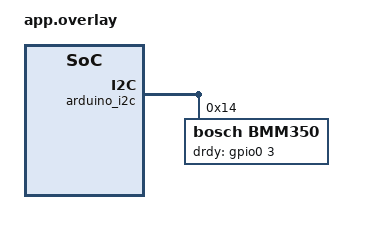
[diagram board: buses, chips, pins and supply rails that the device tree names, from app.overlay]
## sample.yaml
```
sample:
  name: BMM350 Sensor sample
tests:
  sample.sensor.bmm350:
    harness: sensor
    tags:
      - samples
      - sensor
    depends_on: arduino_i2c
```

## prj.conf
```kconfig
CONFIG_STDOUT_CONSOLE=y
CONFIG_I2C=y
CONFIG_SENSOR=y
CONFIG_LOG=y
CONFIG_CBPRINTF_FP_SUPPORT=y
CONFIG_BMM350=y
```

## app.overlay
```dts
/*
 * Copyright (c) 2024 Bosch Sensortec GmbH
 *
 * SPDX-License-Identifier: Apache-2.0
 */

//this i2c config can be used successfully
&arduino_i2c {
	compatible = "nordic,nrf-twim";
	zephyr,concat-buf-size = <257>;
	status = "okay";

	bmm350@14 {
		compatible = "bosch,bmm350";
		drdy-gpios = <&gpio0 3 GPIO_ACTIVE_HIGH>;
		status = "okay";
		label = "BMM350";
		reg = <0x14>;
	};
};
```

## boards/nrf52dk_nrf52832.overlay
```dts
/*
 * Copyright (c) 2024 Nordic Semiconductor ASA
 *
 * SPDX-License-Identifier: Apache-2.0
 */

&i2c0 { /* SDA P0.26, SCL P0.27, DRDY P0.11 */
	status = "okay";
	clock-frequency = <I2C_BITRATE_STANDARD>;
	bmm350@14 {
		compatible = "bosch,bmm350";
		reg = <0x14>;
		drdy-gpios = <&gpio0 11 GPIO_ACTIVE_LOW>;
	};
};
```

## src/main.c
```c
/*
 * Copyright (c) 2024 Bosch Sensortec GmbH
 *
 * SPDX-License-Identifier: Apache-2.0
 */

#include <zephyr/kernel.h>
#include <zephyr/device.h>
#include <zephyr/drivers/sensor.h>
#include <stdio.h>
#include <zephyr/logging/log.h>
#if (CONFIG_BMM350_TRIGGER_GLOBAL_THREAD || CONFIG_BMM350_TRIGGER_OWN_THREAD)
static void trigger_handler(const struct device *dev, const struct sensor_trigger *trig)
{
	struct sensor_value mag[3];
	float report_mag[3] = {0.0};
	int64_t current_time = k_uptime_get();

	sensor_sample_fetch(dev);

	sensor_channel_get(dev, SENSOR_CHAN_MAGN_XYZ, mag);

	report_mag[0] = sensor_value_to_double(mag[0]);
	report_mag[1] = sensor_value_to_double(mag[1]);
	report_mag[2] = sensor_value_to_double(mag[2]);
	printf("Data_ready TIME(ms) %lld MX: %f MY: %f MZ: %f\n", current_time, report_mag[0],
	       report_mag[1], report_mag[2]);
}
#endif

int main(void)
{
	const struct device *const dev = DEVICE_DT_GET_ONE(bosch_bmm350);
	struct sensor_value sampling_freq, oversampling;

	if (!device_is_ready(dev)) {
		printf("Device %s is not ready\n", dev->name);
		return 0;
	}

	printf("Device %p name is %s\n", dev, dev->name);

	/* Setting scale in G, due to loss of precision if the SI unit m/s^2
	 * is used
	 */
	sampling_freq.val1 = 25; /* Hz from 0.78 to 400*/
	sampling_freq.val2 = 0;
	oversampling.val1 = 2; /* averaging mode (one of 0,2,4,8) */
	oversampling.val2 = 0;
	sensor_attr_set(dev, SENSOR_CHAN_MAGN_XYZ, SENSOR_ATTR_SAMPLING_FREQUENCY, &sampling_freq);
	sensor_attr_set(dev, SENSOR_CHAN_MAGN_XYZ, SENSOR_ATTR_OVERSAMPLING, &oversampling);

#if (CONFIG_BMM350_TRIGGER_GLOBAL_THREAD || CONFIG_BMM350_TRIGGER_OWN_THREAD)
	struct sensor_trigger trig;

	trig.type = SENSOR_TRIG_DATA_READY;
	trig.chan = SENSOR_CHAN_MAGN_XYZ;

	if (sensor_trigger_set(dev, &trig, trigger_handler) != 0) {
		printf("Could not set sensor type and channel\n");
		return 0;
	}
#else
	int64_t current_time;
	double report_mag[3] = {0.0};

	while (1) {
		struct sensor_value mag[3];
		/* 10ms period, 100Hz Sampling frequency */
		k_sleep(K_MSEC(1000 / sampling_freq.val1));
		current_time = k_uptime_get();

		sensor_sample_fetch(dev);
		sensor_channel_get(dev, SENSOR_CHAN_MAGN_XYZ, mag);

		report_mag[0] = sensor_value_to_double(&mag[0]);
		report_mag[1] = sensor_value_to_double(&mag[1]);
		report_mag[2] = sensor_value_to_double(&mag[2]);

		printf("Polling TIME(ms) %lld MX: %f MY: %f MZ: %f\n", current_time, report_mag[0],
		       report_mag[1], report_mag[2]);
	}
#endif
	return 0;
}
```
